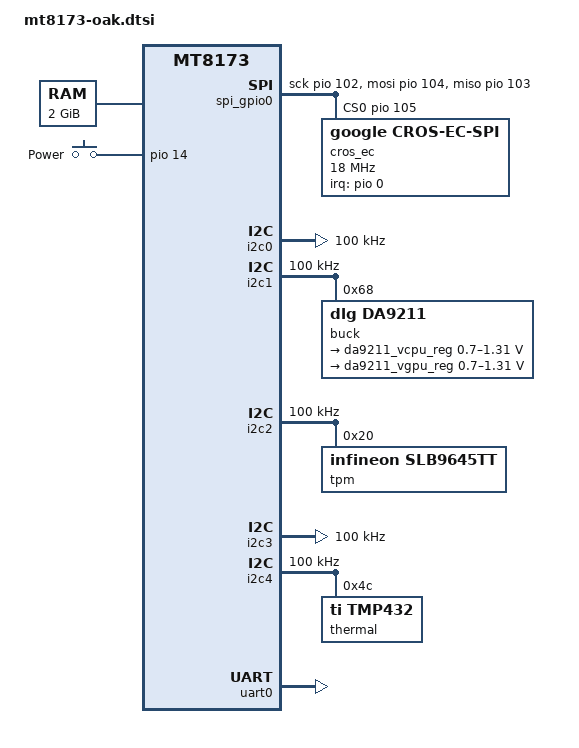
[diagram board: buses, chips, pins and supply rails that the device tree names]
/*
 * This program is free software; you can redistribute it and/or modify
 * it under the terms of the GNU General Public License version 2 as
 * published by the Free Software Foundation.
 *
 * This program is distributed in the hope that it will be useful,
 * but WITHOUT ANY WARRANTY; without even the implied warranty of
 * MERCHANTABILITY or FITNESS FOR A PARTICULAR PURPOSE.  See the
 * GNU General Public License for more details.
 */

#include <dt-bindings/input/input.h>
#include <dt-bindings/gpio/gpio.h>
#include "mt8173.dtsi"
#include "mt8173-pinfunc.h"

/ {
	aliases {
		serial0 = &uart0;
		serial1 = &uart1;
		serial2 = &uart2;
		serial3 = &uart3;
	};

	memory@40000000 {
		device_type = "memory";
		reg = <0 0x40000000 0 0x80000000>;
	};

	chosen {
		linux,stdout-path = &uart0;
	};

	gpio-keys {
		compatible = "gpio-keys";
		power {
			label = "Power";
			gpios = <&pio 14 GPIO_ACTIVE_HIGH>;
			linux,code = <KEY_POWER>;
			debounce-interval = <1>;
			gpio-key,wakeup;
		};
	};

	spi_gpio0: ec@0 {
		compatible = "spi-gpio";
		#address-cells = <0x1>;
		#size-cells = <0>;
		gpio-sck = <&pio 102 GPIO_ACTIVE_HIGH>;
		gpio-miso = <&pio 103 GPIO_ACTIVE_HIGH>;
		gpio-mosi = <&pio 104 GPIO_ACTIVE_HIGH>;
		cs-gpios = <&pio 105 GPIO_ACTIVE_HIGH>;
		num-chipselects = <1>;
		pinctrl-names = "default";
		pinctrl-0 = <&spi_gpio0_pins>;
		status = "okay";

		cros_ec: ec@0 {
			compatible = "google,cros-ec-spi";
			reg = <0x0>;
			spi-max-frequency = <18000000>;
			interrupt-parent = <&pio>;
			interrupts = <0 IRQ_TYPE_LEVEL_LOW>;
			google,cros-ec-spi-msg-delay = <500>;
			google,cros-ec-spi-pre-delay = <500>;

			i2c_tunnel: i2c-tunnel {
				compatible = "google,cros-ec-i2c-tunnel";
				google,remote-bus = <0>;
				#address-cells = <1>;
				#size-cells = <0>;
			};
		};
	};
};

&i2c0 {
	pinctrl-names = "default";
	pinctrl-0 = <&i2c0_pins_a>;
	status = "okay";
	clock-frequency = <100000>;
	#address-cells = <1>;
	#size-cells = <0>;
};

&i2c1 {
	pinctrl-names = "default";
	pinctrl-0 = <&i2c1_pins_a>;
	status = "okay";
	clock-frequency = <100000>;
	#address-cells = <1>;
	#size-cells = <0>;

	buck: da9211@68 {
		compatible = "dlg,da9211";
		reg = <0x68>;

		regulators {
			da9211_vcpu_reg: BUCKA {
				regulator-name = "VBUCKA";
				regulator-min-microvolt = < 700000>;
				regulator-max-microvolt = <1310000>;
				regulator-min-microamp	= <2000000>;
				regulator-max-microamp	= <4400000>;
				regulator-ramp-delay = <10000>;
				regulator-always-on;
			};

			da9211_vgpu_reg: BUCKB {
				regulator-name = "VBUCKB";
				regulator-min-microvolt = < 700000>;
				regulator-max-microvolt = <1310000>;
				regulator-min-microamp	= <2000000>;
				regulator-max-microamp	= <3000000>;
				regulator-ramp-delay = <10000>;
				regulator-always-on;
			};
		};
	};
};

&i2c2 {
	pinctrl-names = "default";
	pinctrl-0 = <&i2c2_pins_a>;
	status = "okay";
	clock-frequency = <100000>;
	#address-cells = <0x1>;
	#size-cells = <0>;

	tpm: tpm@20 {
		compatible = "infineon,slb9645tt";
		reg = <0x20>;
		powered-while-suspended;
	};
};

&i2c3 {
	pinctrl-names = "default";
	pinctrl-0 = <&i2c3_pins_a>;
	status = "okay";
	clock-frequency = <100000>;
	#address-cells = <0x1>;
	#size-cells = <0>;
};

&i2c4 {
	pinctrl-names = "default";
	pinctrl-0 = <&i2c4_pins_a>;
	status = "okay";
	clock-frequency = <100000>;
	#address-cells = <0x1>;
	#size-cells = <0>;

	thermal@4c {
		compatible = "ti,tmp432";
		reg = <0x4c>;
	};
};

&i2c_tunnel {
	battery: sbs-battery@b {
		compatible = "sbs,sbs-battery";
		reg = <0xb>;
		sbs,i2c-retry-count = <2>;
		sbs,poll-retry-count = <1>;
	};
};

&pio {
	spi_gpio0_pins: spi@ec0 {
		pins1 {
			pinmux = <MT8173_PIN_102_MSDC2_DAT2__FUNC_GPIO102>,
				 <MT8173_PIN_103_MSDC2_DAT3__FUNC_GPIO103>,
				 <MT8173_PIN_104_MSDC2_CLK__FUNC_GPIO104>,
				 <MT8173_PIN_105_MSDC2_CMD__FUNC_GPIO105>;
			bias-disable;
		};

		pins2 {
			pinmux = <MT8173_PIN_0_EINT0__FUNC_GPIO0>;
			bias-pull-up;
		};
	};
};

&uart0 {
	status = "okay";
};

#include "cros-ec-keyboard.dtsi"
